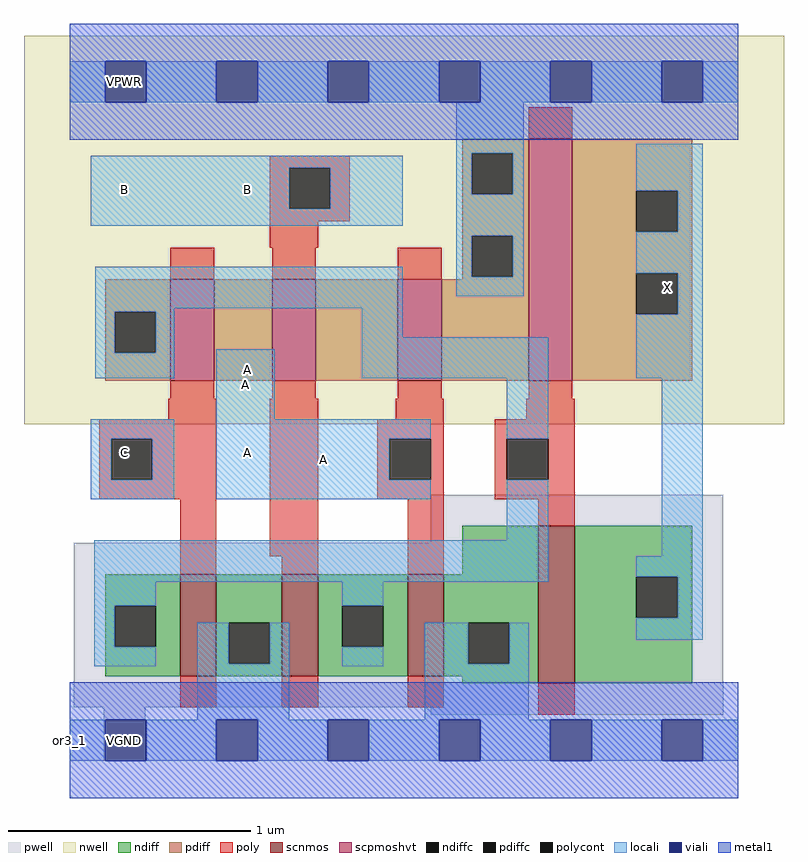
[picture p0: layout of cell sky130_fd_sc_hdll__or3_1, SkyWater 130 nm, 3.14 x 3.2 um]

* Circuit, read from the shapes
.subckt sky130_fd_sc_hdll__or3_1 A B C VGND VNB VPB VPWR X
XM1 VGND C n1 VNB sky130_fd_pr__nfet_01v8 w=0.42 l=0.15
XM2 n1 B VGND VNB sky130_fd_pr__nfet_01v8 w=0.42 l=0.15
XM3 VGND A n1 VNB sky130_fd_pr__nfet_01v8 w=0.42 l=0.15
XM4 X n1 VGND VNB sky130_fd_pr__nfet_01v8 w=0.65 l=0.15
XM5 n2 C n1 VPB sky130_fd_pr__pfet_01v8_hvt w=0.42 l=0.18
XM6 n3 B n2 VPB sky130_fd_pr__pfet_01v8_hvt w=0.42 l=0.18
XM7 VPWR A n3 VPB sky130_fd_pr__pfet_01v8_hvt w=0.42 l=0.18
XM8 X n1 VPWR VPB sky130_fd_pr__pfet_01v8_hvt w=1 l=0.18
.ends

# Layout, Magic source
magic
tech sky130A
magscale 1 2
<< nwell >>
rect -38 261 590 582
<< pwell >>
rect 298 163 540 203
rect 3 27 540 163
rect 28 -17 62 27
rect 298 21 540 27
<< scnmos >>
rect 91 53 121 137
rect 175 53 205 137
rect 279 53 309 137
rect 387 47 417 177
<< scpmoshvt >>
rect 83 297 119 381
rect 167 297 203 381
rect 271 297 307 381
rect 379 297 415 497
<< ndiff >>
rect 324 137 387 177
rect 29 111 91 137
rect 29 77 37 111
rect 71 77 91 111
rect 29 53 91 77
rect 121 97 175 137
rect 121 63 131 97
rect 165 63 175 97
rect 121 53 175 63
rect 205 111 279 137
rect 205 77 225 111
rect 259 77 279 111
rect 205 53 279 77
rect 309 97 387 137
rect 309 63 329 97
rect 363 63 387 97
rect 309 53 387 63
rect 324 47 387 53
rect 417 135 514 177
rect 417 101 468 135
rect 502 101 514 135
rect 417 47 514 101
<< pdiff >>
rect 324 485 379 497
rect 324 451 332 485
rect 366 451 379 485
rect 324 417 379 451
rect 324 383 332 417
rect 366 383 379 417
rect 324 381 379 383
rect 29 354 83 381
rect 29 320 37 354
rect 71 320 83 354
rect 29 297 83 320
rect 119 297 167 381
rect 203 297 271 381
rect 307 297 379 381
rect 415 454 514 497
rect 415 420 468 454
rect 502 420 514 454
rect 415 386 514 420
rect 415 352 468 386
rect 502 352 514 386
rect 415 297 514 352
<< ndiffc >>
rect 37 77 71 111
rect 131 63 165 97
rect 225 77 259 111
rect 329 63 363 97
rect 468 101 502 135
<< pdiffc >>
rect 332 451 366 485
rect 332 383 366 417
rect 37 320 71 354
rect 468 420 502 454
rect 468 352 502 386
<< poly >>
rect 379 497 415 523
rect 165 473 231 483
rect 165 439 181 473
rect 215 439 231 473
rect 165 429 231 439
rect 165 407 205 429
rect 83 381 119 407
rect 167 381 203 407
rect 271 381 307 407
rect 83 282 119 297
rect 167 282 203 297
rect 271 282 307 297
rect 379 282 415 297
rect 81 265 121 282
rect 24 249 121 265
rect 24 215 34 249
rect 68 215 121 249
rect 24 199 121 215
rect 91 137 121 199
rect 165 152 205 282
rect 269 265 309 282
rect 377 265 417 282
rect 254 249 309 265
rect 254 215 264 249
rect 298 215 309 249
rect 254 199 309 215
rect 351 249 417 265
rect 351 215 361 249
rect 395 215 417 249
rect 351 199 417 215
rect 175 137 205 152
rect 279 137 309 199
rect 387 177 417 199
rect 91 27 121 53
rect 175 27 205 53
rect 279 27 309 53
rect 387 21 417 47
<< polycont >>
rect 181 439 215 473
rect 34 215 68 249
rect 264 215 298 249
rect 361 215 395 249
<< locali >>
rect 0 527 29 561
rect 63 527 121 561
rect 155 527 213 561
rect 247 527 305 561
rect 339 527 397 561
rect 431 527 489 561
rect 523 527 552 561
rect 319 485 375 527
rect 17 473 275 483
rect 17 439 181 473
rect 215 439 275 473
rect 17 425 275 439
rect 319 451 332 485
rect 366 451 375 485
rect 319 417 375 451
rect 21 357 275 391
rect 319 383 332 417
rect 366 383 375 417
rect 319 367 375 383
rect 468 454 523 493
rect 502 420 523 454
rect 468 386 523 420
rect 21 354 86 357
rect 21 320 37 354
rect 71 320 86 354
rect 241 333 275 357
rect 502 352 523 386
rect 21 299 86 320
rect 121 265 169 323
rect 241 299 395 333
rect 468 299 523 352
rect 17 249 86 265
rect 17 215 34 249
rect 68 215 86 249
rect 17 199 86 215
rect 121 249 298 265
rect 121 215 264 249
rect 121 199 298 215
rect 361 249 395 299
rect 361 165 395 215
rect 20 131 395 165
rect 489 152 523 299
rect 468 135 523 152
rect 20 111 71 131
rect 20 77 37 111
rect 225 111 259 131
rect 20 61 71 77
rect 105 63 131 97
rect 165 63 181 97
rect 105 17 181 63
rect 502 101 523 135
rect 225 61 259 77
rect 293 63 329 97
rect 363 63 379 97
rect 468 83 523 101
rect 293 17 379 63
rect 0 -17 29 17
rect 63 -17 121 17
rect 155 -17 213 17
rect 247 -17 305 17
rect 339 -17 397 17
rect 431 -17 489 17
rect 523 -17 552 17
<< viali >>
rect 29 527 63 561
rect 121 527 155 561
rect 213 527 247 561
rect 305 527 339 561
rect 397 527 431 561
rect 489 527 523 561
rect 29 -17 63 17
rect 121 -17 155 17
rect 213 -17 247 17
rect 305 -17 339 17
rect 397 -17 431 17
rect 489 -17 523 17
<< metal1 >>
rect 0 561 552 592
rect 0 527 29 561
rect 63 527 121 561
rect 155 527 213 561
rect 247 527 305 561
rect 339 527 397 561
rect 431 527 489 561
rect 523 527 552 561
rect 0 496 552 527
rect 0 17 552 48
rect 0 -17 29 17
rect 63 -17 121 17
rect 155 -17 213 17
rect 247 -17 305 17
rect 339 -17 397 17
rect 431 -17 489 17
rect 523 -17 552 17
rect 0 -48 552 -17
<< labels >>
flabel locali s 121 265 169 323 0 FreeSans 400 0 0 0 A
port 1 nsew signal input
flabel locali s 130 221 164 255 0 FreeSans 400 0 0 0 A
port 1 nsew
flabel locali s 477 357 511 391 0 FreeSans 200 0 0 0 X
port 8 nsew signal output
flabel locali s 130 289 164 323 0 FreeSans 400 0 0 0 A
port 1 nsew
flabel locali s 28 438 62 472 0 FreeSans 400 0 0 0 B
port 2 nsew signal input
flabel locali s 130 438 164 472 0 FreeSans 400 0 0 0 B
port 2 nsew signal input
flabel locali s 28 221 62 255 0 FreeSans 400 0 0 0 C
port 3 nsew signal input
flabel metal1 s 28 527 62 561 0 FreeSans 200 0 0 0 VPWR
port 7 nsew power bidirectional
flabel metal1 s 28 -17 62 17 0 FreeSans 200 0 0 0 VGND
port 4 nsew ground bidirectional
flabel nwell s 28 527 62 561 0 FreeSans 200 0 0 0 VPB
port 6 nsew power bidirectional
flabel pwell s 28 -17 62 17 0 FreeSans 200 0 0 0 VNB
port 5 nsew ground bidirectional
rlabel comment s 0 0 0 0 4 or3_1
rlabel locali s 121 199 298 265 1 A
port 1 nsew signal input
<< properties >>
string LEFsite unithd
string LEFclass CORE
string FIXED_BBOX 0 0 552 544
string GDS_FILE $PDKPATH/libs.ref/sky130_fd_sc_hdll/gds/sky130_fd_sc_hdll.gds
string LEFsymmetry X Y R90
string GDS_END 1560392
string GDS_START 1555130
string LEFproperties maskLayoutSubType "abstract" prCellType "standard" originalViewName "layout"
<< end >>
